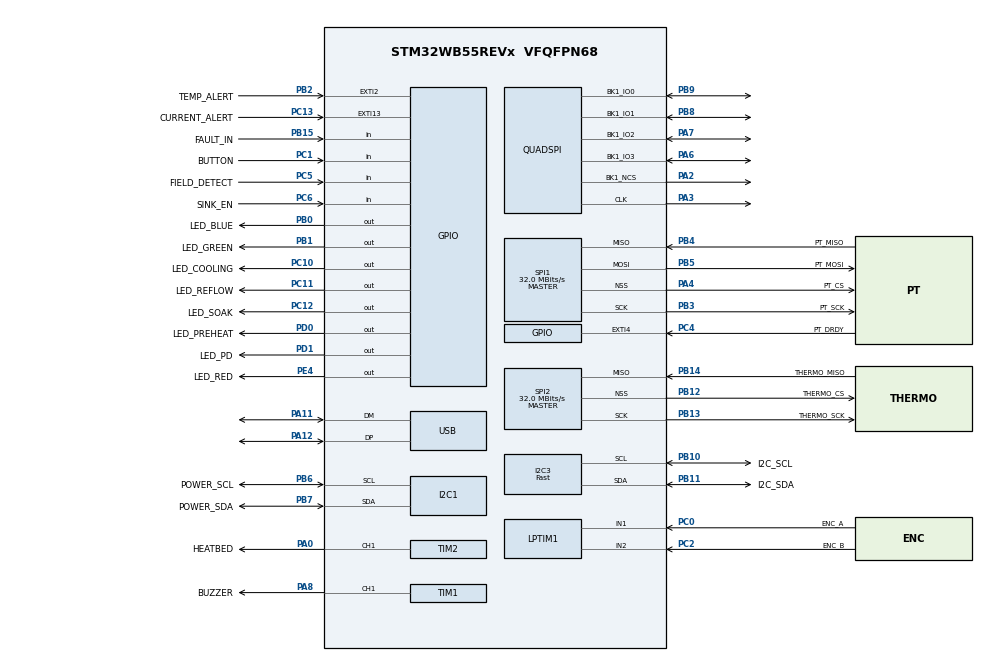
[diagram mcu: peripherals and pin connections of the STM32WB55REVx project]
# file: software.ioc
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Dma.I2C3_TX.0.Direction=DMA_MEMORY_TO_PERIPH
Dma.I2C3_TX.0.EventEnable=ENABLE
Dma.I2C3_TX.0.Instance=DMA1_Channel1
Dma.I2C3_TX.0.MemDataAlignment=DMA_MDATAALIGN_BYTE
Dma.I2C3_TX.0.MemInc=DMA_MINC_ENABLE
Dma.I2C3_TX.0.Mode=DMA_NORMAL
Dma.I2C3_TX.0.PeriphDataAlignment=DMA_PDATAALIGN_BYTE
Dma.I2C3_TX.0.PeriphInc=DMA_PINC_DISABLE
Dma.I2C3_TX.0.Polarity=HAL_DMAMUX_REQ_GEN_RISING
Dma.I2C3_TX.0.Priority=DMA_PRIORITY_HIGH
Dma.I2C3_TX.0.RequestNumber=1
Dma.I2C3_TX.0.SignalID=NONE
Dma.I2C3_TX.0.SyncEnable=DISABLE
Dma.I2C3_TX.0.SyncPolarity=HAL_DMAMUX_SYNC_NO_EVENT
Dma.I2C3_TX.0.SyncRequestNumber=1
Dma.I2C3_TX.0.SyncSignalID=NONE
Dma.Request0=I2C3_TX
I2C1.Timing=0x10B17DB5
I2C3.I2C_Speed_Mode=I2C_Fast
I2C3.Timing=0x00C12166
LPTIM1.ULPClockPolarity=LPTIM_CLOCKPOLARITY_RISING_FALLING
LPTIM1.ULPClockSampleTime=LPTIM_CLOCKSAMPLETIME_2TRANSITIONS
Mcu.Family=STM32WB
Mcu.Name=STM32WB55REVx
Mcu.Package=VFQFPN68
NVIC.DMA1_Channel1_IRQn=true\:0\:0\:false\:false\:true\:false\:true\:true
NVIC.DMAMUX1_OVR_IRQn=true\:0\:0\:false\:false\:true\:false\:true\:true
NVIC.EXTI15_10_IRQn=true\:0\:0\:false\:false\:true\:true\:true\:true
NVIC.HSEM_IRQn=true\:0\:0\:false\:false\:true\:false\:true\:true
NVIC.I2C3_EV_IRQn=true\:0\:0\:false\:false\:true\:true\:true\:true
NVIC.IPCC_C1_RX_IRQn=true\:0\:0\:false\:false\:true\:true\:true\:true
NVIC.IPCC_C1_TX_IRQn=true\:0\:0\:false\:false\:true\:true\:true\:true
NVIC.PriorityGroup=NVIC_PRIORITYGROUP_4
NVIC.RTC_WKUP_IRQn=true\:0\:0\:false\:false\:true\:true\:true\:true
NVIC.USB_LP_IRQn=true\:0\:0\:false\:false\:true\:false\:true\:true
OSC_IN.Mode=HSE-External-Oscillator
OSC_IN.Signal=RCC_OSC_IN
OSC_OUT.Mode=HSE-External-Oscillator
OSC_OUT.Signal=RCC_OSC_OUT
PA0.GPIO_Label=HEATBED
PA0.Signal=S_TIM2_CH1
PA11.Mode=Device
PA11.Signal=USB_DM
PA12.Mode=Device
PA12.Signal=USB_DP
PA13.Mode=Serial_Wire
PA13.Signal=SYS_JTMS-SWDIO
PA14.Mode=Serial_Wire
PA14.Signal=SYS_JTCK-SWCLK
PA2.Mode=Single Bank 1
PA2.Signal=QUADSPI_BK1_NCS
PA3.Mode=Single Bank 1
PA3.Signal=QUADSPI_CLK
PA4.GPIO_Label=PT_CS
PA4.Mode=NSS_Signal_Hard_Output
PA4.Signal=SPI1_NSS
PA6.Mode=Single Bank 1
PA6.Signal=QUADSPI_BK1_IO3
PA7.Mode=Single Bank 1
PA7.Signal=QUADSPI_BK1_IO2
PA8.GPIO_Label=BUZZER
PA8.Signal=S_TIM1_CH1
PB0.GPIO_Label=LED_BLUE
PB0.Signal=GPIO_Output
PB1.GPIO_Label=LED_GREEN
PB1.Signal=GPIO_Output
PB10.GPIO_Label=I2C_SCL
PB10.Mode=I2C
PB10.Signal=I2C3_SCL
PB11.GPIO_Label=I2C_SDA
PB11.Mode=I2C
PB11.Signal=I2C3_SDA
PB12.GPIO_Label=THERMO_CS
PB12.Mode=NSS_Signal_Hard_Output
PB12.Signal=SPI2_NSS
PB13.GPIO_Label=THERMO_SCK
PB13.Mode=RX_Only_Simplex_Unidirect_Master
PB13.Signal=SPI2_SCK
PB14.GPIO_Label=THERMO_MISO
PB14.Mode=RX_Only_Simplex_Unidirect_Master
PB14.Signal=SPI2_MISO
PB15.GPIO_Label=FAULT_IN
PB15.Signal=GPIO_Input
PB2.GPIO_Label=TEMP_ALERT
PB2.Signal=GPXTI2
PB3.GPIO_Label=PT_SCK
PB3.Mode=Full_Duplex_Master
PB3.Signal=SPI1_SCK
PB4.GPIO_Label=PT_MISO
PB4.Mode=Full_Duplex_Master
PB4.Signal=SPI1_MISO
PB5.GPIO_Label=PT_MOSI
PB5.Mode=Full_Duplex_Master
PB5.Signal=SPI1_MOSI
PB6.GPIO_Label=POWER_SCL
PB6.Mode=I2C
PB6.Signal=I2C1_SCL
PB7.GPIO_Label=POWER_SDA
PB7.Mode=I2C
PB7.Signal=I2C1_SDA
PB8.Mode=Single Bank 1
PB8.Signal=QUADSPI_BK1_IO1
PB9.Mode=Single Bank 1
PB9.Signal=QUADSPI_BK1_IO0
PC0.GPIO_Label=ENC_A
PC0.Mode=Encoder_mode_occur1
PC0.Signal=LPTIM1_IN1
PC1.GPIO_Label=BUTTON
PC1.GPIO_PuPd=GPIO_PULLUP
PC1.Signal=GPIO_Input
PC10.GPIO_Label=LED_COOLING
PC10.Signal=GPIO_Output
PC11.GPIO_Label=LED_REFLOW
PC11.Signal=GPIO_Output
PC12.GPIO_Label=LED_SOAK
PC12.Signal=GPIO_Output
PC13.GPIO_Label=CURRENT_ALERT
PC13.Signal=GPXTI13
PC14-OSC32_IN.Mode=LSE-External-Oscillator
PC14-OSC32_IN.Signal=RCC_OSC32_IN
PC15-OSC32_OUT.Mode=LSE-External-Oscillator
PC15-OSC32_OUT.Signal=RCC_OSC32_OUT
PC2.GPIO_Label=ENC_B
PC2.Mode=Encoder_mode_occur1
PC2.Signal=LPTIM1_IN2
PC4.GPIO_Label=PT_DRDY
PC4.Signal=GPXTI4
PC5.GPIO_Label=FIELD_DETECT
PC5.Signal=GPIO_Input
PC6.GPIO_Label=SINK_EN
PC6.Signal=GPIO_Input
PD0.GPIO_Label=LED_PREHEAT
PD0.Signal=GPIO_Output
PD1.GPIO_Label=LED_PD
PD1.Signal=GPIO_Output
PE4.GPIO_Label=LED_RED
PE4.Signal=GPIO_Output
ProjectManager.HeapSize=0xC00
ProjectManager.StackSize=0xA00
ProjectManager.TargetToolchain=Makefile
RCC.ADCFreq_Value=48000000
RCC.AHB2CLKDivider=RCC_SYSCLK_DIV2
RCC.AHBFreq_Value=64000000
RCC.APB1Freq_Value=64000000
RCC.APB1TimFreq_Value=64000000
RCC.APB2Freq_Value=64000000
RCC.APB2TimFreq_Value=64000000
RCC.APB3Freq_Value=16000000
RCC.CortexFreq_Value=64000000
RCC.HCLKFreq_Value=64000000
RCC.HSE_VALUE=32000000
RCC.HSI48_VALUE=48000000
RCC.HSI_VALUE=16000000
RCC.PLLN=32
RCC.PLLSAI1N=24
RCC.SYSCLKFreq_VALUE=64000000
RCC.SYSCLKSource=RCC_SYSCLKSOURCE_PLLCLK
RCC.USBFreq_Value=48000000
RCC.VCOOutputFreq_Value=128000000
RF1.Mode=RF1_Activate
RF1.Signal=RF_RF1
SH.S_TIM1_CH1.0=TIM1_CH1,PWM Generation1 CH1
SH.S_TIM2_CH1.0=TIM2_CH1,PWM Generation1 CH1
SPI1.CalculateBaudRate=32.0 MBits/s
SPI1.Direction=SPI_DIRECTION_2LINES
SPI1.Mode=SPI_MODE_MASTER
SPI1.VirtualNSS=VM_NSSHARD
SPI1.VirtualType=VM_MASTER
SPI2.CalculateBaudRate=32.0 MBits/s
SPI2.Direction=SPI_DIRECTION_2LINES_RXONLY
SPI2.Mode=SPI_MODE_MASTER
SPI2.VirtualNSS=VM_NSSHARD
SPI2.VirtualType=VM_MASTER
STM32_WPAN.AD_SERVICE_CLASS_UUID_1=18 0A
STM32_WPAN.AD_SERVICE_CLASS_UUID_1_INV=[0A, 18]
STM32_WPAN.AD_TYPE_COMPLETE_LOCAL_NAME=EMBER V1
STM32_WPAN.BLE_APPLICATION_TYPE=BLE_SERVER_PROFILE
STM32_WPAN.BT_SIG_BEACON=Disabled
STM32_WPAN.CFG_DEBUGGER_SUPPORTED=0
STM32_WPAN.CFG_GAP_DEVICE_NAME=EMBER V1
STM32_WPAN.CUSTOM_P2P_SERVER=Disabled
STM32_WPAN.CUSTOM_TEMPLATE=Enabled
STM32_WPAN.GAP_PERIPHERAL_ROLE=0
STM32_WPAN.INCLUDE_AD_TYPE_16_BIT_SERV_UUID_CMPLT_LIST=0
STM32_WPAN.INCLUDE_AD_TYPE_COMPLETE_LOCAL_NAME=1
STM32_WPAN.INCLUDE_AD_TYPE_MANUFACTURER_SPECIFIC_DATA=1
STM32_WPAN.INCLUDE_AD_TYPE_TX_POWER_LEVEL=1
STM32_WPAN.LOCAL_NAME=EMBER
STM32_WPAN.LOCAL_NAME_FORMATTED=,'E','M','B','E','R'
STM32_WPAN.NUMBER_OF_SERVICES=1
STM32_WPAN.PAIRING_PARAMETERS=ON
STM32_WPAN.SERVICE1_CHAR1_GATT_NOTIFY_READ_REQ_AND_WAIT_FOR_APPL_RESP=\ 
STM32_WPAN.SERVICE1_CHAR1_GATT_NOTIFY_WRITE_REQ_AND_WAIT_FOR_APPL_RESP=\ 
STM32_WPAN.SERVICE1_CHAR1_LENGTH_CHARACTERISTIC=CHAR_VALUE_LEN_CONSTANT
STM32_WPAN.SERVICE1_CHAR1_LONG_NAME=LED_STATUS
STM32_WPAN.SERVICE1_CHAR1_PROP_BROADCAST=CHAR_PROP_BROADCAST
STM32_WPAN.SERVICE1_CHAR1_PROP_READ=CHAR_PROP_READ
STM32_WPAN.SERVICE1_CHAR1_PROP_WRITE_WITHOUT_RESP=CHAR_PROP_WRITE_WITHOUT_RESP
STM32_WPAN.SERVICE1_CHAR1_SHORT_NAME=LED
STM32_WPAN.SERVICE1_CHAR1_UUID=00 01
STM32_WPAN.SERVICE1_CHAR1_VALUE_LENGTH=2
STM32_WPAN.SERVICE1_LONG_NAME=EMBER_STATUS
STM32_WPAN.SERVICE1_SHORT_NAME=STAT
STM32_WPAN.SERVICE1_UUID=00 00
TIM1.AutoReloadPreload=TIM_AUTORELOAD_PRELOAD_ENABLE
TIM1.Channel-PWM\ Generation1\ CH1=TIM_CHANNEL_1
TIM2.AutoReloadPreload=TIM_AUTORELOAD_PRELOAD_ENABLE
TIM2.Channel-PWM\ Generation1\ CH1=TIM_CHANNEL_1
TIM2.Period=999
TIM2.Prescaler=6399
USB_DEVICE.CLASS_NAME_FS=CDC
USB_DEVICE.VirtualMode=Cdc
USB_DEVICE.VirtualModeFS=Cdc_FS
VP_HSEM_VS_HSEM.Mode=HSEM_Activate
VP_IPCC_VS_IPCC.Mode=IPCC_Activate
VP_MEMORYMAP_VS_MEMORYMAP.Mode=CurAppReg
VP_RTC_VS_RTC_Activate.Mode=RTC_Enabled
VP_RTC_VS_RTC_WakeUp_intern.Mode=WakeUp
VP_SEQUENCER_VS_SEQUENCER.Mode=SEQUENCER_Enabled
VP_STM32_WPAN_VS_BLE_HOST.Mode=STM32_WPAN_Enabled
VP_TIM1_VS_ClockSourceINT.Mode=Internal
VP_TIM2_VS_ClockSourceINT.Mode=Internal
VP_TINY_LPM_VS_TINY_LPM.Mode=TINY_LPM_Enabled
VP_USB_DEVICE_VS_USB_DEVICE_CDC_FS.Mode=CDC_FS
board=custom

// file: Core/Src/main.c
/* USER CODE BEGIN Header */
/**
  ******************************************************************************
  * @file           : main.c
  * @brief          : Main program body
  ******************************************************************************
  * @attention
  *
  * Copyright (c) 2025 STMicroelectronics.
  * All rights reserved.
  *
  * This software is licensed under terms that can be found in the LICENSE file
  * in the root directory of this software component.
  * If no LICENSE file comes with this software, it is provided AS-IS.
  *
  ******************************************************************************
  */
/* USER CODE END Header */
#include "main.h"
#include "usb_device.h"

/* USER CODE BEGIN Includes */

#include "config.h"
#include "utils.h"
#include "tps25730_driver.h"
#include "speaker.h"
#include "input.h"
#include "heater.h"
#include "tmp116.h"
#include "nfc.h"
#include "driver_ina226_basic.h"

#include "rtd.h"

#include "thermocouple.h"

#include "swallow2.h"

#define SSD1306_BLENDER_PRO_BOLD_FONT_13x19

#include "ssd1306.h"
#include "ssd1306_tests.h"
#include <stdlib.h>
#include "ui.h"
#include "blenderProBold.h"
#include "fonts.h"
/* USER CODE END Includes */

I2C_HandleTypeDef hi2c1;
I2C_HandleTypeDef hi2c3;
DMA_HandleTypeDef hdma_i2c3_tx;

IPCC_HandleTypeDef hipcc;

LPTIM_HandleTypeDef hlptim1;

QSPI_HandleTypeDef hqspi;

RTC_HandleTypeDef hrtc;

SPI_HandleTypeDef hspi1;
SPI_HandleTypeDef hspi2;

TIM_HandleTypeDef htim1;
TIM_HandleTypeDef htim2;

/* USER CODE BEGIN PV */
TPS25730_Handle *tps_handle = NULL;
Speaker_Handle *speaker = NULL;
TMP116_Handle_t tmp116;
static uint32_t last_temp_read = 0;

static uint32_t last_tc_poll = 0;
static uint32_t last_nfc_poll = 0;
static uint32_t last_ina226_poll = 0;
// Encoder tone settings (configurable)
static uint32_t encoder_tone_base_freq = 2093; // C7
static int16_t encoder_tone_steps = 0; // steps from base, CCW +1 => +50Hz
static uint32_t encoder_tone_step_hz = 50; // Hz per step
static uint32_t encoder_tone_current_freq = 2093; // Start at base freq

/* Random teleport variables for SSD1306 */
static uint32_t last_teleport = 0;
static const uint32_t TELEPORT_INTERVAL_MS = 300; // teleport interval
static const uint8_t TELEPORT_RADIUS = 10; // circle radius

// Forward-declare menu callback
static void main_menu_select_cb(uint8_t idx, void *ctx);

// Settings screen state and helpers
static volatile bool settings_active = false;
static volatile int settings_heater_percent = 0;
static void settings_show(void);
static void settings_update_display(void);
static void settings_on_ok(void *ctx);

SSD1306_t SSD1306_Disp;
/* USER CODE END PV */

void SystemClock_Config(void);
void PeriphCommonClock_Config(void);
static void MX_GPIO_Init(void);
static void MX_DMA_Init(void);
static void MX_I2C1_Init(void);
static void MX_I2C3_Init(void);
static void MX_QUADSPI_Init(void);
static void MX_SPI2_Init(void);
static void MX_TIM1_Init(void);
static void MX_TIM2_Init(void);
static void MX_LPTIM1_Init(void);
static void MX_SPI1_Init(void);
static void MX_IPCC_Init(void);
static void MX_RTC_Init(void);
static void MX_RF_Init(void);
/* USER CODE BEGIN PFP */
/**
  * @brief Callback for main menu selections
  * @param idx: Index of the selected item
  * @param ctx: Context pointer (ui_menu_t *)
  * @retval None
  */
static void main_menu_select_cb(uint8_t idx, void *ctx) {
    ui_menu_t *m = (ui_menu_t *)ctx;
    switch (idx) {
        case 0: // Home
            ui_show_home(m);
            break;
        case 1: { // Status - show USB-C PD voltage & amperage + temperature
            static char status_buf[128];
            int len = 0;
            if (tps_handle != NULL) {
                uint32_t voltage_mv = 0, current_ma = 0;
                if (TPS25730_GetActiveVoltage(tps_handle, &voltage_mv, &current_ma)) {
                    uint32_t volts = voltage_mv / 1000;
                    uint32_t vfrac = (voltage_mv % 1000) / 10; // hundredths
                    uint32_t amps_int = current_ma / 1000;
                    uint32_t amps_frac = (current_ma % 1000) / 10; // hundredths
                    len = snprintf(status_buf, sizeof(status_buf), "%lu.%02lu V\n%lu.%02lu A (%lumA)", volts, vfrac, amps_int, amps_frac, current_ma);
                } else {
                    len = snprintf(status_buf, sizeof(status_buf), "USB-C PD: unavailable");
                }
            } else {
                len = snprintf(status_buf, sizeof(status_buf), "USB-C PD: not initialized");
            }
            if (len < 0) len = 0;
            if (len > (int)sizeof(status_buf) - 1) len = sizeof(status_buf) - 1;

            float temperature;
            if (TMP116_GetTemperature(&tmp116, &temperature) == TMP116_OK) {
                int rem = (int)sizeof(status_buf) - len;
                if (rem > 1) {
                    int n = snprintf(status_buf + len, rem, "\nTemp: %.2f C", temperature);
                    if (n > 0) len += n;
                }
            } else {
                int rem = (int)sizeof(status_buf) - len;
                if (rem > 1) {
                    int n = snprintf(status_buf + len, rem, "\nTemp: N/A");
                    if (n > 0) len += n;
                }
            }

            ui_show_text("Status", status_buf, &Font_11x18, &Font_6x8, NULL, NULL);
            break;
        }
        case 2: // Settings
            settings_show();
            break;
        case 3: // About
            ui_show_text("About", "Ember V1\n@NotARoomba", &Font_11x18, &Font_6x8, NULL, NULL);
            break;
        default:
            break;
    }
}
/* USER CODE END PFP */

/* USER CODE BEGIN 0 */

// Static buffer used by settings UI so the pointer remains valid
static char settings_buf[128];

// Show the settings screen and initialize value from current heater percent
static void settings_show(void) {
    settings_heater_percent = (int)(Heater_GetPercent() + 0.5f);
    snprintf(settings_buf, sizeof(settings_buf), "Heater: %d%%\nShort press to save\nLong press to return", settings_heater_percent);
    ui_show_text("Settings", settings_buf, &Font_11x18, &Font_6x8, settings_on_ok, NULL);
    settings_active = true;
}

// Update the displayed text - update current text screen in-place
static void settings_update_display(void) {
    snprintf(settings_buf, sizeof(settings_buf), "Heater: %d%%\nShort press to save\nLong press to return", settings_heater_percent);
    ui_update_text(settings_buf);
}

// Save callback (short press) - apply and close
static void settings_on_ok(void *ctx) {
    (void)ctx;
    print("Settings: Heater set to %d%%\r\n", settings_heater_percent);
    Heater_SetPercent((float)settings_heater_percent);
    settings_active = false;
    // Close the settings screen
    ui_handle_event(UI_EVT_BACK);
}

/* USER CODE END 0 */

int main(void)
{

  /* MCU Configuration--------------------------------------------------------*/

  /* Reset of all peripherals, Initializes the Flash interface and the Systick. */
  HAL_Init();
  /* Config code for STM32_WPAN (HSE Tuning must be done before system clock configuration) */
  MX_APPE_Config();

  /* Configure the system clock */
  SystemClock_Config();

  /* Configure the peripherals common clocks */
  PeriphCommonClock_Config();

  /* IPCC initialisation */
  MX_IPCC_Init();

  /* Initialize all configured peripherals */
  MX_GPIO_Init();
  MX_DMA_Init();
  MX_I2C1_Init();
  MX_I2C3_Init();
  MX_QUADSPI_Init();
  MX_SPI2_Init();
  MX_TIM1_Init();
  MX_TIM2_Init();
  MX_LPTIM1_Init();
  MX_SPI1_Init();
  MX_USB_Device_Init();
  MX_RTC_Init();
  MX_RF_Init();
  /* USER CODE BEGIN 2 */

  HAL_Delay(1000);

  /* Prevent unused-variable warnings until poll code is enabled */
  (void)last_temp_read;
  (void)last_ina226_poll;

  /* Scan I2C3 bus for devices */
  // int i2c3_devices = I2C_ScanBus(&hi2c3);
  // print("I2C3: %d device(s) found\r\n", i2c3_devices);

  /* Register LED pins with utils so Update_LEDs can control them */
  LEDs_RegisterPin(LED_STATUS_PD,       LED_PD_GPIO_Port,       LED_PD_Pin);
  LEDs_RegisterPin(LED_STATUS_PREHEAT,  LED_PREHEAT_GPIO_Port,  LED_PREHEAT_Pin);
  LEDs_RegisterPin(LED_STATUS_SOAK,     LED_SOAK_GPIO_Port,     LED_SOAK_Pin);
  LEDs_RegisterPin(LED_STATUS_REFLOW,   LED_REFLOW_GPIO_Port,   LED_REFLOW_Pin);
  LEDs_RegisterPin(LED_STATUS_COOL,     LED_COOLING_GPIO_Port,  LED_COOLING_Pin);
  LEDs_RegisterPin(LED_STATUS_STATUS,   LED_BLUE_GPIO_Port,    LED_BLUE_Pin);
  LEDs_RegisterPin(LED_STATUS_GOOD,     LED_GREEN_GPIO_Port,     LED_GREEN_Pin);
  LEDs_RegisterPin(LED_STATUS_ERROR,    LED_RED_GPIO_Port,      LED_RED_Pin);

  /* Set blink interval (ms) and start blinking all LEDs for visual test */
  LEDs_SetBlinkInterval(500);
  LEDs_Blinking();

  // Initialize input handling (encoder + button)
  if (!Input_Init()) {
    print("Input: Init FAILED\r\n");
    Error_Handler();
  }

  // Initialize heater PWM control
  Heater_Init();
  // Heater_Off();

  Heater_SetPercent(0);

  // Initialize TMP119 temperature sensor on I2C3
  if (TMP116_Init(&tmp116, &hi2c3, TMP116_I2C_ADDRESS) == TMP116_OK) {
    print("TMP119: OK\r\n");
  } else {
    print("TMP119: FAILED\r\n");
  }

  // Initialize NT3H2111 NFC tag on I2C3
  if (NFC_Init() == NFC_OK) {
    // NFC_DisablePasswordProtection();
    // Factory reset NFC tag after init using NFC wrapper
    // if (NFC_FactoryReset() == NFC_OK) {
    //   print("NFC: Factory reset complete\r\n");
    // } else {
    //   print("NFC: Factory reset FAILED\r\n");
    // }
    // // NFC_WriteText("Ember V1 NFC Tag");
    NFC_RefreshHash();  // Sync hash with current memory state
  }

  print("Ember V1!\r\n");

  // Initialize TPS25730 on I2C1 (assuming address 0x20)
  tps_handle = TPS25730_Init(&hi2c1, 0x20);
  if (tps_handle == NULL) {
    print("TPS25730: Init FAILED\r\n");
  }

  HAL_Delay(250);

  if (tps_handle != NULL) {
    uint32_t voltage_mv, current_ma;

    /*
    // === List all available PDOs from charger ===
    TPS25730_SourceCaps source_caps;
    if (TPS25730_ReadRxSourceCaps(tps_handle, &source_caps)) {
      print("=== Source PDOs ===\r\n");
      for (uint8_t i = 0; i < source_caps.num_valid_pdos; i++) {
        uint32_t pdo = source_caps.pdos[i];
        TPS25730_FixedPDO fixed;
        if (TPS25730_ParseFixedPDO(pdo, &fixed)) {
          print("PDO %u: %lu.%02luV @ %lu.%02luA\r\n", i+1,
                fixed.voltage_mv/1000, (fixed.voltage_mv%1000)/10,
                fixed.operational_current_ma/1000, (fixed.operational_current_ma%1000)/10);
        }
      }
    }
    */

    // Get current voltage
    if (TPS25730_GetActiveVoltage(tps_handle, &voltage_mv, &current_ma)) {
      print("Current: %lu.%02luV @ %lu.%02luA\r\n",
            voltage_mv/1000, (voltage_mv%1000)/10,
            current_ma/1000, (current_ma%1000)/10);
    }

    // Request 20V @ 5A
    print("Requesting 20V @ 5A...\r\n");
    if (TPS25730_RequestVoltage(tps_handle, 20000, 5000, 5000)) {
      HAL_Delay(250);

      // Get updated voltage
      if (TPS25730_GetActiveVoltage(tps_handle, &voltage_mv, &current_ma)) {
        print("Updated: %lu.%02luV @ %lu.%02luA\r\n",
              voltage_mv/1000, (voltage_mv%1000)/10,
              current_ma/1000, (current_ma%1000)/10);
      }
    } else {
      print("Request failed\r\n");
    }
  }

  // Initialize speaker and play jingle bells
  speaker = Speaker_Init(&htim1, TIM_CHANNEL_1, 64000000);

  // Jingle Bells melody
  // const Speaker_Note jingle_bells[] = {
  //   // "Jingle bells, jingle bells"
  //   {NOTE_E5, 200}, {NOTE_E5, 200}, {NOTE_E5, 400},
  //   {NOTE_E5, 200}, {NOTE_E5, 200}, {NOTE_E5, 400},
  //   // "Jingle all the way"
  //   {NOTE_E5, 200}, {NOTE_G5, 200}, {NOTE_C5, 200}, {NOTE_D5, 200}, {NOTE_E5, 600},
  //   {NOTE_REST, 200},
  //   // "Oh what fun it is to ride"
  //   {NOTE_F5, 200}, {NOTE_F5, 200}, {NOTE_F5, 200}, {NOTE_F5, 200},
  //   {NOTE_F5, 200}, {NOTE_E5, 200}, {NOTE_E5, 200}, {NOTE_E5, 100}, {NOTE_E5, 100},
  //   // "In a one horse open sleigh"
  //   {NOTE_E5, 200}, {NOTE_D5, 200}, {NOTE_D5, 200}, {NOTE_E5, 200}, {NOTE_D5, 400}, {NOTE_G5, 400},
  // };

  // Speaker_PlayMelody(speaker, jingle_bells, sizeof(jingle_bells)/sizeof(jingle_bells[0]));

  // // Wait for melody to finish
  // while (Speaker_Update(speaker)) {
  //   // Melody still playing
  // }

  // Initialize INA226 on I2C1 (bus voltage/current monitor)
  // 3W 2mΩ SMD ±50ppm/℃ Current Sense Resistor ±1% 2512
  // if (ina226_basic_init(INA226_ADDRESS_0, 0.002) == 0) {
  //   print("INA226: OK\r\n");
  // } else {
  //   print("INA226: FAILED\r\n");
  // }

  // Initialize RTD (MAX31865) on SPI1
  RTD_Init();
  print("RTD: MAX31865 initialized\r\n");

  // Initialize Thermocouple (MAX6675) on SPI2
  Thermocouple_Init();
  print("Thermocouple: MAX6675 initialized\r\n");

    LEDs_Off();
    Set_LED_Status(LED_STATUS_GOOD, ON);
    Set_LED_Status(LED_STATUS_PD, BLINKING);
    // u8g2_Setup_ssd1306_i2c_128x64_noname_1();
    ssd1306_Init();

    // Initialize UI
    ui_init();
    static const char *main_menu_items[] = {"Home", "Status", "Settings", "About"};
    static ui_menu_t main_menu; // initialize at runtime to allow Font_7x10 assignment
    main_menu.items = main_menu_items;
    main_menu.count = sizeof(main_menu_items)/sizeof(main_menu_items[0]);
    main_menu.selected = 0;
    main_menu.top = 0;
    main_menu.lines = 4;
    main_menu.left_padding = 2;
    main_menu.right_padding = 2;
    // select the preferred font: try Minecraft 8x10 first, then configured default
    main_menu.font = &fontBlenderProBold18pt13x19;
    // main_menu.title = "Main Menu";
    main_menu.on_select = main_menu_select_cb;
    main_menu.cb_ctx = &main_menu;
    // Show the branded home screen and allow the user to press OK to enter the main menu
    ui_show_home(&main_menu);

    // ssd1306_TestAll();

    // HAL_Delay(500);
    // ssd1306_FillCircle(64, 32, 10, White);
    // ssd1306_UpdateScreen();
    // HAL_Delay(500);
    // ssd1306_FillCircle(64, 32, 10, White);
    // ssd1306_UpdateScreen();
    // ssd1306_FillCircle(64, 32, 10, White);
    // ssd1306_UpdateScreen();
  /* USER CODE END 2 */

  /* Init code for STM32_WPAN */
  MX_APPE_Init();

  /* Infinite loop */
  /* USER CODE BEGIN WHILE */
  while (1)
  {
    // Poll inputs (non-blocking)
    Input_Poll();
    Update_LEDs();
    Speaker_Update(speaker);

    // Poll Thermocouple (MAX6675) for temperature every 500ms
    if ((HAL_GetTick() - last_tc_poll) >= 500) {
      last_tc_poll = HAL_GetTick();
       float tc_temp = Thermocouple_ReadCelsius();
      if (Thermocouple_Ok()) {
        print("Thermocouple: %.2f C\r\n", tc_temp);
      } else {
        print("Thermocouple: read failed\r\n");
      }
    }

    // let UI process events and redraw when ready
    ui_tick();

    // Random teleport – only attempt when no UI screen is active
    if (!ui_is_active() && (int32_t)(HAL_GetTick() - last_teleport) >= (int32_t)TELEPORT_INTERVAL_MS) {
        if (SSD1306_Disp.state == SSD1306_STATE_READY) {
            last_teleport = HAL_GetTick();
            ssd1306_Fill(Black); // clear buffer
            uint8_t x = (uint8_t)(rand() % (SSD1306_WIDTH - 2*TELEPORT_RADIUS)) + TELEPORT_RADIUS;
            uint8_t y = (uint8_t)(rand() % (SSD1306_HEIGHT - 2*TELEPORT_RADIUS)) + TELEPORT_RADIUS;
            ssd1306_FillCircle(x, y, TELEPORT_RADIUS, White);
            ssd1306_UpdateScreen();
        }
    }

    // Handle encoder events
    if (input_encoder_cw) {
      input_encoder_cw = false;

      if (settings_active) {
          // Counter-clockwise -> increase percentage
          if (settings_heater_percent < 100) settings_heater_percent++;
          settings_update_display();
          print("Settings: Heater %d%%\r\n", settings_heater_percent);
          // if (speaker != NULL) { Speaker_Beep(speaker, 1000, 30, 10, 1); }
      } else {
          // Notify UI (rotary clockwise -> DOWN)
          ui_handle_event(UI_EVT_DOWN);

          print("Encoder CW, position: %ld\r\n", input_encoder_position);
          // Decrease pitch by 50 Hz per clockwise step
          // encoder_tone_steps--;
          // int32_t freq = (int32_t)encoder_tone_base_freq + (int32_t)encoder_tone_steps * (int32_t)encoder_tone_step_hz;
          // if (freq < 20) freq = 20;
          // if (freq > 20000) freq = 20000;
          // encoder_tone_current_freq = (uint32_t)freq;
          // if (speaker != NULL) {
          //   Speaker_Beep(speaker, (uint16_t)freq, 30, 10, 1);
          // }
      }
    }
    if (input_encoder_ccw) {
      input_encoder_ccw = false;

      if (settings_active) {
          // Clockwise -> decrease percentage
          if (settings_heater_percent > 0) settings_heater_percent--;
          settings_update_display();
          print("Settings: Heater %d%%\r\n", settings_heater_percent);
          // if (speaker != NULL) { Speaker_Beep(speaker, 1200, 30, 10, 1); }
      } else {
          // Notify UI (rotary counter-clockwise -> UP)
          ui_handle_event(UI_EVT_UP);

          print("Encoder CCW, position: %ld\r\n", input_encoder_position);
          // Increase pitch by 50 Hz per counter-clockwise step
          // encoder_tone_steps++;
          // int32_t freq = (int32_t)encoder_tone_base_freq + (int32_t)encoder_tone_steps * (int32_t)encoder_tone_step_hz;
          // if (freq < 20) freq = 20;
          // if (freq > 20000) freq = 20000;
          // encoder_tone_current_freq = (uint32_t)freq;
          // if (speaker != NULL) {
          //   Speaker_Beep(speaker, (uint16_t)freq, 30, 10, 1);
          // }
      }
    }

    // Handle button events
    if (input_button_pressed) {
      input_button_pressed = false;
      // Notify UI (button press -> OK/select)
      ui_handle_event(UI_EVT_OK);

      print("Button short press! Position: %ld\r\n", input_encoder_position);
      // if (speaker != NULL) {
      //   // Play current beep and print frequency
      //   // Speaker_Beep(speaker, (uint16_t)encoder_tone_current_freq, 40, 10, 1);
      //   // print("Speaker current beep: %lu Hz\r\n", encoder_tone_current_freq);
      //     Speaker_PlayMelody(speaker, swallow, sizeof(swallow)/sizeof(swallow[0]));
      //   while(Speaker_Update(speaker)) {

      //   }
      }
      // TODO: Handle short press (e.g., select/confirm)

    if (input_button_long_pressed) {
      input_button_long_pressed = false;
      if (settings_active) {
          settings_active = false;
          ui_handle_event(UI_EVT_BACK);
          print("Settings: canceled\r\n");
      } else {
        ui_handle_event(UI_EVT_BACK);
          print("Button long press!\r\n");
          // TODO: Additional global long-press behavior
      }
    }
    // Poll temperature sensor periodically
    // if ((HAL_GetTick() - last_temp_read) >= TEMP_READ_INTERVAL_MS) {
    //   last_temp_read = HAL_GetTick();
    //   float temperature;
    //   if (TMP116_GetTemperature(&tmp116, &temperature) == TMP116_OK) {
    //     print("Temp: %d.%02d C\r\n", (int)temperature, (int)((temperature - (int)temperature) * 100));
    //   }
    // }

    // Poll NFC for field detection and data changes
    if ((HAL_GetTick() - last_nfc_poll) >= NFC_POLL_INTERVAL_MS) {
      last_nfc_poll = HAL_GetTick();
      NFC_Events_t nfc_events;
      if (NFC_Poll(&nfc_events) == NFC_OK) {
        Set_LED_Status(LED_STATUS_STATUS, nfc_events.field_detected ? ON : OFF);
        //play a jingle  c4 and then f4 in sequence

        if (nfc_events.data_changed) {
                        Speaker_PlayMelody(speaker, (Speaker_Note[]){ {NOTE_F4, 75}, {NOTE_C4, 50} }, 2);

          // Read first 16 bytes of user memory to see what changed
          uint8_t nfc_data[16];
          char nfc_text[128];
          if (NFC_ReadMemory(0, nfc_data, sizeof(nfc_data)) == NFC_OK) {
            for (size_t i = 0; i < sizeof(nfc_data); i++) {
              print("%02x ", nfc_data[i]);
            }
            print("\r\n");
          }
        if (NFC_ReadText(nfc_text, sizeof(nfc_text)) == NFC_OK) {
          print("NFC Text: %s\r\n", nfc_text);
        }
        } else if  (nfc_events.field_detected) {
              // Field detected - play C4
              Speaker_PlayMelody(speaker, (Speaker_Note[]){ {NOTE_C4, 75}, {NOTE_F4, 50} }, 2);
            }

      }
    }
    // Poll INA226 for current/voltage every 500ms
    // if ((HAL_GetTick() - last_ina226_poll) >= 500) {
    //   last_ina226_poll = HAL_GetTick();
    //   float bus_mv = 0, current_ma = 0, power_mw = 0;
    //   if (ina226_basic_read(&bus_mv, &current_ma, &power_mw) == 0) {
    //     print("INA226: %.2f mV, %.2f mA, %.2f mW\r\n", bus_mv, current_ma, power_mw);
    //   } else {
    //     print("INA226: read failed\r\n");
    //   }
    // }

    // Poll RTD (MAX31865) for temperature every 500ms
    // static uint32_t last_rtd_poll = 0;
    // if ((HAL_GetTick() - last_rtd_poll) >= 500) {
    //   last_rtd_poll = HAL_GetTick();
    //   float rtd_temp = RTD_ReadCelsius();
    //   float rtd_ohms = RTD_ReadOhms();
    //   if (!RTD_Fault()) {
    //     print("RTD: %.2f C, %.2f Ohms\r\n", rtd_temp, rtd_ohms);
    //   } else {
    //     print("RTD: FAULT (code 0x%02X)\r\n", RTD_FaultCode());
    //     RTD_ClearFault();
    //   }
    // }

    // Other main loop tasks here...

    /* USER CODE END WHILE */
    MX_APPE_Process();

  }
}

void SystemClock_Config(void)
{
  RCC_OscInitTypeDef RCC_OscInitStruct = {0};
  RCC_ClkInitTypeDef RCC_ClkInitStruct = {0};

  /** Configure LSE Drive Capability
  */
  HAL_PWR_EnableBkUpAccess();
  __HAL_RCC_LSEDRIVE_CONFIG(RCC_LSEDRIVE_MEDIUMHIGH);

  /** Configure the main internal regulator output voltage
  */
  __HAL_PWR_VOLTAGESCALING_CONFIG(PWR_REGULATOR_VOLTAGE_SCALE1);

  /** Initializes the RCC Oscillators according to the specified parameters
  * in the RCC_OscInitTypeDef structure.
  */
  RCC_OscInitStruct.OscillatorType = RCC_OSCILLATORTYPE_HSI|RCC_OSCILLATORTYPE_LSI1
                              |RCC_OSCILLATORTYPE_HSE|RCC_OSCILLATORTYPE_LSE
                              |RCC_OSCILLATORTYPE_MSI;
  RCC_OscInitStruct.HSEState = RCC_HSE_ON;
  RCC_OscInitStruct.LSEState = RCC_LSE_ON;
  RCC_OscInitStruct.HSIState = RCC_HSI_ON;
  RCC_OscInitStruct.MSIState = RCC_MSI_ON;
  RCC_OscInitStruct.HSICalibrationValue = RCC_HSICALIBRATION_DEFAULT;
  RCC_OscInitStruct.MSICalibrationValue = RCC_MSICALIBRATION_DEFAULT;
  RCC_OscInitStruct.MSIClockRange = RCC_MSIRANGE_6;
  RCC_OscInitStruct.LSIState = RCC_LSI_ON;
  RCC_OscInitStruct.PLL.PLLState = RCC_PLL_ON;
  RCC_OscInitStruct.PLL.PLLSource = RCC_PLLSOURCE_MSI;
  RCC_OscInitStruct.PLL.PLLM = RCC_PLLM_DIV1;
  RCC_OscInitStruct.PLL.PLLN = 32;
  RCC_OscInitStruct.PLL.PLLP = RCC_PLLP_DIV2;
  RCC_OscInitStruct.PLL.PLLR = RCC_PLLR_DIV2;
  RCC_OscInitStruct.PLL.PLLQ = RCC_PLLQ_DIV2;
  if (HAL_RCC_OscConfig(&RCC_OscInitStruct) != HAL_OK)
  {
    Error_Handler();
  }

  /** Configure the SYSCLKSource, HCLK, PCLK1 and PCLK2 clocks dividers
  */
  RCC_ClkInitStruct.ClockType = RCC_CLOCKTYPE_HCLK4|RCC_CLOCKTYPE_HCLK2
                              |RCC_CLOCKTYPE_HCLK|RCC_CLOCKTYPE_SYSCLK
                              |RCC_CLOCKTYPE_PCLK1|RCC_CLOCKTYPE_PCLK2;
  RCC_ClkInitStruct.SYSCLKSource = RCC_SYSCLKSOURCE_PLLCLK;
  RCC_ClkInitStruct.AHBCLKDivider = RCC_SYSCLK_DIV1;
  RCC_ClkInitStruct.APB1CLKDivider = RCC_HCLK_DIV1;
  RCC_ClkInitStruct.APB2CLKDivider = RCC_HCLK_DIV1;
  RCC_ClkInitStruct.AHBCLK2Divider = RCC_SYSCLK_DIV2;
  RCC_ClkInitStruct.AHBCLK4Divider = RCC_SYSCLK_DIV1;

  if (HAL_RCC_ClockConfig(&RCC_ClkInitStruct, FLASH_LATENCY_3) != HAL_OK)
  {
    Error_Handler();
  }

  /** Enable MSI Auto calibration
  */
  HAL_RCCEx_EnableMSIPLLMode();
}

void PeriphCommonClock_Config(void)
{
  RCC_PeriphCLKInitTypeDef PeriphClkInitStruct = {0};

  /** Initializes the peripherals clock
  */
  PeriphClkInitStruct.PeriphClockSelection = RCC_PERIPHCLK_SMPS|RCC_PERIPHCLK_RFWAKEUP;
  PeriphClkInitStruct.RFWakeUpClockSelection = RCC_RFWKPCLKSOURCE_HSE_DIV1024;
  PeriphClkInitStruct.SmpsClockSelection = RCC_SMPSCLKSOURCE_HSI;
  PeriphClkInitStruct.SmpsDivSelection = RCC_SMPSCLKDIV_RANGE1;

  if (HAL_RCCEx_PeriphCLKConfig(&PeriphClkInitStruct) != HAL_OK)
  {
    Error_Handler();
  }
}

static void MX_I2C1_Init(void)
{

  hi2c1.Instance = I2C1;
  hi2c1.Init.Timing = 0x10B17DB5;
  hi2c1.Init.OwnAddress1 = 0;
  hi2c1.Init.AddressingMode = I2C_ADDRESSINGMODE_7BIT;
  hi2c1.Init.DualAddressMode = I2C_DUALADDRESS_DISABLE;
  hi2c1.Init.OwnAddress2 = 0;
  hi2c1.Init.OwnAddress2Masks = I2C_OA2_NOMASK;
  hi2c1.Init.GeneralCallMode = I2C_GENERALCALL_DISABLE;
  hi2c1.Init.NoStretchMode = I2C_NOSTRETCH_DISABLE;
  if (HAL_I2C_Init(&hi2c1) != HAL_OK)
  {
    Error_Handler();
  }

  /** Configure Analogue filter
  */
  if (HAL_I2CEx_ConfigAnalogFilter(&hi2c1, I2C_ANALOGFILTER_ENABLE) != HAL_OK)
  {
    Error_Handler();
  }

  /** Configure Digital filter
  */
  if (HAL_I2CEx_ConfigDigitalFilter(&hi2c1, 0) != HAL_OK)
  {
    Error_Handler();
  }

}

static void MX_I2C3_Init(void)
{

  /* USER CODE BEGIN I2C3_Init 1 */
  hi2c3.hdmatx = &hdma_i2c3_tx;
  /* USER CODE END I2C3_Init 1 */
  hi2c3.Instance = I2C3;
  hi2c3.Init.Timing = 0x00C12166;
  hi2c3.Init.OwnAddress1 = 0;
  hi2c3.Init.AddressingMode = I2C_ADDRESSINGMODE_7BIT;
  hi2c3.Init.DualAddressMode = I2C_DUALADDRESS_DISABLE;
  hi2c3.Init.OwnAddress2 = 0;
  hi2c3.Init.OwnAddress2Masks = I2C_OA2_NOMASK;
  hi2c3.Init.GeneralCallMode = I2C_GENERALCALL_DISABLE;
  hi2c3.Init.NoStretchMode = I2C_NOSTRETCH_DISABLE;
  if (HAL_I2C_Init(&hi2c3) != HAL_OK)
  {
    Error_Handler();
  }

  /** Configure Analogue filter
  */
  if (HAL_I2CEx_ConfigAnalogFilter(&hi2c3, I2C_ANALOGFILTER_ENABLE) != HAL_OK)
  {
    Error_Handler();
  }

  /** Configure Digital filter
  */
  if (HAL_I2CEx_ConfigDigitalFilter(&hi2c3, 0) != HAL_OK)
  {
    Error_Handler();
  }

}

static void MX_IPCC_Init(void)
{

  hipcc.Instance = IPCC;
  if (HAL_IPCC_Init(&hipcc) != HAL_OK)
  {
    Error_Handler();
  }

}

static void MX_LPTIM1_Init(void)
{

  hlptim1.Instance = LPTIM1;
  hlptim1.Init.Clock.Source = LPTIM_CLOCKSOURCE_APBCLOCK_LPOSC;
  hlptim1.Init.Clock.Prescaler = LPTIM_PRESCALER_DIV1;
  hlptim1.Init.UltraLowPowerClock.Polarity = LPTIM_CLOCKPOLARITY_RISING_FALLING;
  hlptim1.Init.UltraLowPowerClock.SampleTime = LPTIM_CLOCKSAMPLETIME_2TRANSITIONS;
  hlptim1.Init.Trigger.Source = LPTIM_TRIGSOURCE_SOFTWARE;
  hlptim1.Init.OutputPolarity = LPTIM_OUTPUTPOLARITY_HIGH;
  hlptim1.Init.UpdateMode = LPTIM_UPDATE_IMMEDIATE;
  hlptim1.Init.CounterSource = LPTIM_COUNTERSOURCE_EXTERNAL;
  hlptim1.Init.Input1Source = LPTIM_INPUT1SOURCE_GPIO;
  hlptim1.Init.Input2Source = LPTIM_INPUT2SOURCE_GPIO;
  if (HAL_LPTIM_Init(&hlptim1) != HAL_OK)
  {
    Error_Handler();
  }

}

static void MX_QUADSPI_Init(void)
{

  /* QUADSPI parameter configuration*/
  hqspi.Instance = QUADSPI;
  hqspi.Init.ClockPrescaler = 255;
  hqspi.Init.FifoThreshold = 1;
  hqspi.Init.SampleShifting = QSPI_SAMPLE_SHIFTING_NONE;
  hqspi.Init.FlashSize = 1;
  hqspi.Init.ChipSelectHighTime = QSPI_CS_HIGH_TIME_1_CYCLE;
  hqspi.Init.ClockMode = QSPI_CLOCK_MODE_0;
  if (HAL_QSPI_Init(&hqspi) != HAL_OK)
  {
    Error_Handler();
  }

}

static void MX_RF_Init(void)
{

}

static void MX_RTC_Init(void)
{

  /** Initialize RTC Only
  */
  hrtc.Instance = RTC;
  hrtc.Init.HourFormat = RTC_HOURFORMAT_24;
  hrtc.Init.AsynchPrediv = CFG_RTC_ASYNCH_PRESCALER;
  hrtc.Init.SynchPrediv = CFG_RTC_SYNCH_PRESCALER;
  hrtc.Init.OutPut = RTC_OUTPUT_DISABLE;
  hrtc.Init.OutPutPolarity = RTC_OUTPUT_POLARITY_HIGH;
  hrtc.Init.OutPutType = RTC_OUTPUT_TYPE_OPENDRAIN;
  hrtc.Init.OutPutRemap = RTC_OUTPUT_REMAP_NONE;
  if (HAL_RTC_Init(&hrtc) != HAL_OK)
  {
    Error_Handler();
  }

  /** Enable the WakeUp
  */
  if (HAL_RTCEx_SetWakeUpTimer_IT(&hrtc, 0, RTC_WAKEUPCLOCK_RTCCLK_DIV16) != HAL_OK)
  {
    Error_Handler();
  }

}

static void MX_SPI1_Init(void)
{

  /* SPI1 parameter configuration*/
  hspi1.Instance = SPI1;
  hspi1.Init.Mode = SPI_MODE_MASTER;
  hspi1.Init.Direction = SPI_DIRECTION_2LINES;
  hspi1.Init.DataSize = SPI_DATASIZE_4BIT;
  hspi1.Init.CLKPolarity = SPI_POLARITY_LOW;
  hspi1.Init.CLKPhase = SPI_PHASE_1EDGE;
  hspi1.Init.NSS = SPI_NSS_HARD_OUTPUT;
  hspi1.Init.BaudRatePrescaler = SPI_BAUDRATEPRESCALER_2;
  hspi1.Init.FirstBit = SPI_FIRSTBIT_MSB;
  hspi1.Init.TIMode = SPI_TIMODE_DISABLE;
  hspi1.Init.CRCCalculation = SPI_CRCCALCULATION_DISABLE;
  hspi1.Init.CRCPolynomial = 7;
  hspi1.Init.CRCLength = SPI_CRC_LENGTH_DATASIZE;
  hspi1.Init.NSSPMode = SPI_NSS_PULSE_ENABLE;
  if (HAL_SPI_Init(&hspi1) != HAL_OK)
  {
    Error_Handler();
  }

}

static void MX_SPI2_Init(void)
{

  /* SPI2 parameter configuration*/
  hspi2.Instance = SPI2;
  hspi2.Init.Mode = SPI_MODE_MASTER;
  hspi2.Init.Direction = SPI_DIRECTION_2LINES_RXONLY;
  hspi2.Init.DataSize = SPI_DATASIZE_4BIT;
  hspi2.Init.CLKPolarity = SPI_POLARITY_LOW;
  hspi2.Init.CLKPhase = SPI_PHASE_1EDGE;
  hspi2.Init.NSS = SPI_NSS_HARD_OUTPUT;
  hspi2.Init.BaudRatePrescaler = SPI_BAUDRATEPRESCALER_2;
  hspi2.Init.FirstBit = SPI_FIRSTBIT_MSB;
  hspi2.Init.TIMode = SPI_TIMODE_DISABLE;
  hspi2.Init.CRCCalculation = SPI_CRCCALCULATION_DISABLE;
  hspi2.Init.CRCPolynomial = 7;
  hspi2.Init.CRCLength = SPI_CRC_LENGTH_DATASIZE;
  hspi2.Init.NSSPMode = SPI_NSS_PULSE_ENABLE;
  if (HAL_SPI_Init(&hspi2) != HAL_OK)
  {
    Error_Handler();
  }

}

static void MX_TIM1_Init(void)
{

  TIM_ClockConfigTypeDef sClockSourceConfig = {0};
  TIM_MasterConfigTypeDef sMasterConfig = {0};
  TIM_OC_InitTypeDef sConfigOC = {0};
  TIM_BreakDeadTimeConfigTypeDef sBreakDeadTimeConfig = {0};

  htim1.Instance = TIM1;
  htim1.Init.Prescaler = 0;
  htim1.Init.CounterMode = TIM_COUNTERMODE_UP;
  htim1.Init.Period = 65535;
  htim1.Init.ClockDivision = TIM_CLOCKDIVISION_DIV1;
  htim1.Init.RepetitionCounter = 0;
  htim1.Init.AutoReloadPreload = TIM_AUTORELOAD_PRELOAD_ENABLE;
  if (HAL_TIM_Base_Init(&htim1) != HAL_OK)
  {
    Error_Handler();
  }
  sClockSourceConfig.ClockSource = TIM_CLOCKSOURCE_INTERNAL;
  if (HAL_TIM_ConfigClockSource(&htim1, &sClockSourceConfig) != HAL_OK)
  {
    Error_Handler();
  }
  if (HAL_TIM_PWM_Init(&htim1) != HAL_OK)
  {
    Error_Handler();
  }
  sMasterConfig.MasterOutputTrigger = TIM_TRGO_RESET;
  sMasterConfig.MasterOutputTrigger2 = TIM_TRGO2_RESET;
  sMasterConfig.MasterSlaveMode = TIM_MASTERSLAVEMODE_DISABLE;
  if (HAL_TIMEx_MasterConfigSynchronization(&htim1, &sMasterConfig) != HAL_OK)
  {
    Error_Handler();
  }
  sConfigOC.OCMode = TIM_OCMODE_PWM1;
  sConfigOC.Pulse = 0;
  sConfigOC.OCPolarity = TIM_OCPOLARITY_HIGH;
  sConfigOC.OCNPolarity = TIM_OCNPOLARITY_HIGH;
  sConfigOC.OCFastMode = TIM_OCFAST_DISABLE;
  sConfigOC.OCIdleState = TIM_OCIDLESTATE_RESET;
  sConfigOC.OCNIdleState = TIM_OCNIDLESTATE_RESET;
  if (HAL_TIM_PWM_ConfigChannel(&htim1, &sConfigOC, TIM_CHANNEL_1) != HAL_OK)
  {
    Error_Handler();
  }
  sBreakDeadTimeConfig.OffStateRunMode = TIM_OSSR_DISABLE;
  sBreakDeadTimeConfig.OffStateIDLEMode = TIM_OSSI_DISABLE;
  sBreakDeadTimeConfig.LockLevel = TIM_LOCKLEVEL_OFF;
  sBreakDeadTimeConfig.DeadTime = 0;
  sBreakDeadTimeConfig.BreakState = TIM_BREAK_DISABLE;
  sBreakDeadTimeConfig.BreakPolarity = TIM_BREAKPOLARITY_HIGH;
  sBreakDeadTimeConfig.BreakFilter = 0;
  sBreakDeadTimeConfig.BreakAFMode = TIM_BREAK_AFMODE_INPUT;
  sBreakDeadTimeConfig.Break2State = TIM_BREAK2_DISABLE;
  sBreakDeadTimeConfig.Break2Polarity = TIM_BREAK2POLARITY_HIGH;
  sBreakDeadTimeConfig.Break2Filter = 0;
  sBreakDeadTimeConfig.Break2AFMode = TIM_BREAK_AFMODE_INPUT;
  sBreakDeadTimeConfig.AutomaticOutput = TIM_AUTOMATICOUTPUT_DISABLE;
  if (HAL_TIMEx_ConfigBreakDeadTime(&htim1, &sBreakDeadTimeConfig) != HAL_OK)
  {
    Error_Handler();
  }
  HAL_TIM_MspPostInit(&htim1);

}

static void MX_TIM2_Init(void)
{

  TIM_ClockConfigTypeDef sClockSourceConfig = {0};
  TIM_MasterConfigTypeDef sMasterConfig = {0};
  TIM_OC_InitTypeDef sConfigOC = {0};

  htim2.Instance = TIM2;
  htim2.Init.Prescaler = 6399;
  htim2.Init.CounterMode = TIM_COUNTERMODE_UP;
  htim2.Init.Period = 999;
  htim2.Init.ClockDivision = TIM_CLOCKDIVISION_DIV1;
  htim2.Init.AutoReloadPreload = TIM_AUTORELOAD_PRELOAD_ENABLE;
  if (HAL_TIM_Base_Init(&htim2) != HAL_OK)
  {
    Error_Handler();
  }
  sClockSourceConfig.ClockSource = TIM_CLOCKSOURCE_INTERNAL;
  if (HAL_TIM_ConfigClockSource(&htim2, &sClockSourceConfig) != HAL_OK)
  {
    Error_Handler();
  }
  if (HAL_TIM_PWM_Init(&htim2) != HAL_OK)
  {
    Error_Handler();
  }
  sMasterConfig.MasterOutputTrigger = TIM_TRGO_RESET;
  sMasterConfig.MasterSlaveMode = TIM_MASTERSLAVEMODE_DISABLE;
  if (HAL_TIMEx_MasterConfigSynchronization(&htim2, &sMasterConfig) != HAL_OK)
  {
    Error_Handler();
  }
  sConfigOC.OCMode = TIM_OCMODE_PWM1;
  sConfigOC.Pulse = 0;
  sConfigOC.OCPolarity = TIM_OCPOLARITY_HIGH;
  sConfigOC.OCFastMode = TIM_OCFAST_DISABLE;
  if (HAL_TIM_PWM_ConfigChannel(&htim2, &sConfigOC, TIM_CHANNEL_1) != HAL_OK)
  {
    Error_Handler();
  }
  /* USER CODE BEGIN TIM2_Init 2 */
  // Reconfigure TIM2 for heater PWM using config.h values
  // PWM freq = TIM_CLK / ((PSC+1) * (ARR+1))
  htim2.Init.Prescaler = HEATER_TIM_PRESCALER;
  htim2.Init.Period = HEATER_TIM_PERIOD;
  htim2.Init.AutoReloadPreload = TIM_AUTORELOAD_PRELOAD_ENABLE;
  if (HAL_TIM_PWM_Init(&htim2) != HAL_OK) {
    Error_Handler();
  }
  /* USER CODE END TIM2_Init 2 */
  HAL_TIM_MspPostInit(&htim2);

}

static void MX_DMA_Init(void)
{

  /* DMA controller clock enable */
  __HAL_RCC_DMAMUX1_CLK_ENABLE();
  __HAL_RCC_DMA1_CLK_ENABLE();

  /* DMA interrupt init */
  /* DMA1_Channel1_IRQn interrupt configuration */
  HAL_NVIC_SetPriority(DMA1_Channel1_IRQn, 0, 0);
  HAL_NVIC_EnableIRQ(DMA1_Channel1_IRQn);
  /* DMAMUX1_OVR_IRQn interrupt configuration */
  HAL_NVIC_SetPriority(DMAMUX1_OVR_IRQn, 0, 0);
  HAL_NVIC_EnableIRQ(DMAMUX1_OVR_IRQn);

}

static void MX_GPIO_Init(void)
{
  GPIO_InitTypeDef GPIO_InitStruct = {0};

  /* GPIO Ports Clock Enable */
  __HAL_RCC_GPIOC_CLK_ENABLE();
  __HAL_RCC_GPIOB_CLK_ENABLE();
  __HAL_RCC_GPIOA_CLK_ENABLE();
  __HAL_RCC_GPIOE_CLK_ENABLE();
  __HAL_RCC_GPIOD_CLK_ENABLE();

  /*Configure GPIO pin Output Level */
  HAL_GPIO_WritePin(GPIOB, LED_BLUE_Pin|LED_GREEN_Pin, GPIO_PIN_RESET);

  /*Configure GPIO pin Output Level */
  HAL_GPIO_WritePin(LED_RED_GPIO_Port, LED_RED_Pin, GPIO_PIN_RESET);

  /*Configure GPIO pin Output Level */
  HAL_GPIO_WritePin(GPIOC, LED_COOLING_Pin|LED_REFLOW_Pin|LED_SOAK_Pin, GPIO_PIN_RESET);

  /*Configure GPIO pin Output Level */
  HAL_GPIO_WritePin(GPIOD, LED_PREHEAT_Pin|LED_PD_Pin, GPIO_PIN_RESET);

  /*Configure GPIO pins : CURRENT_ALERT_Pin PT_DRDY_Pin */
  GPIO_InitStruct.Pin = CURRENT_ALERT_Pin|PT_DRDY_Pin;
  GPIO_InitStruct.Mode = GPIO_MODE_IT_RISING;
  GPIO_InitStruct.Pull = GPIO_NOPULL;
  HAL_GPIO_Init(GPIOC, &GPIO_InitStruct);

  /*Configure GPIO pin : BUTTON_Pin */
  GPIO_InitStruct.Pin = BUTTON_Pin;
  GPIO_InitStruct.Mode = GPIO_MODE_INPUT;
  GPIO_InitStruct.Pull = GPIO_PULLUP;
  HAL_GPIO_Init(BUTTON_GPIO_Port, &GPIO_InitStruct);

  /*Configure GPIO pins : FIELD_DETECT_Pin SINK_EN_Pin */
  GPIO_InitStruct.Pin = FIELD_DETECT_Pin|SINK_EN_Pin;
  GPIO_InitStruct.Mode = GPIO_MODE_INPUT;
  GPIO_InitStruct.Pull = GPIO_NOPULL;
  HAL_GPIO_Init(GPIOC, &GPIO_InitStruct);

  /*Configure GPIO pin : TEMP_ALERT_Pin */
  GPIO_InitStruct.Pin = TEMP_ALERT_Pin;
  GPIO_InitStruct.Mode = GPIO_MODE_IT_RISING;
  GPIO_InitStruct.Pull = GPIO_NOPULL;
  HAL_GPIO_Init(TEMP_ALERT_GPIO_Port, &GPIO_InitStruct);

  /*Configure GPIO pins : LED_BLUE_Pin LED_GREEN_Pin */
  GPIO_InitStruct.Pin = LED_BLUE_Pin|LED_GREEN_Pin;
  GPIO_InitStruct.Mode = GPIO_MODE_OUTPUT_PP;
  GPIO_InitStruct.Pull = GPIO_NOPULL;
  GPIO_InitStruct.Speed = GPIO_SPEED_FREQ_LOW;
  HAL_GPIO_Init(GPIOB, &GPIO_InitStruct);

  /*Configure GPIO pin : LED_RED_Pin */
  GPIO_InitStruct.Pin = LED_RED_Pin;
  GPIO_InitStruct.Mode = GPIO_MODE_OUTPUT_PP;
  GPIO_InitStruct.Pull = GPIO_NOPULL;
  GPIO_InitStruct.Speed = GPIO_SPEED_FREQ_LOW;
  HAL_GPIO_Init(LED_RED_GPIO_Port, &GPIO_InitStruct);

  /*Configure GPIO pin : FAULT_IN_Pin */
  GPIO_InitStruct.Pin = FAULT_IN_Pin;
  GPIO_InitStruct.Mode = GPIO_MODE_INPUT;
  GPIO_InitStruct.Pull = GPIO_NOPULL;
  HAL_GPIO_Init(FAULT_IN_GPIO_Port, &GPIO_InitStruct);

  /*Configure GPIO pins : LED_COOLING_Pin LED_REFLOW_Pin LED_SOAK_Pin */
  GPIO_InitStruct.Pin = LED_COOLING_Pin|LED_REFLOW_Pin|LED_SOAK_Pin;
  GPIO_InitStruct.Mode = GPIO_MODE_OUTPUT_PP;
  GPIO_InitStruct.Pull = GPIO_NOPULL;
  GPIO_InitStruct.Speed = GPIO_SPEED_FREQ_LOW;
  HAL_GPIO_Init(GPIOC, &GPIO_InitStruct);

  /*Configure GPIO pins : LED_PREHEAT_Pin LED_PD_Pin */
  GPIO_InitStruct.Pin = LED_PREHEAT_Pin|LED_PD_Pin;
  GPIO_InitStruct.Mode = GPIO_MODE_OUTPUT_PP;
  GPIO_InitStruct.Pull = GPIO_NOPULL;
  GPIO_InitStruct.Speed = GPIO_SPEED_FREQ_LOW;
  HAL_GPIO_Init(GPIOD, &GPIO_InitStruct);

  /* EXTI interrupt init*/
  HAL_NVIC_SetPriority(EXTI15_10_IRQn, 0, 0);
  HAL_NVIC_EnableIRQ(EXTI15_10_IRQn);

}

void Error_Handler(void)
{
  __disable_irq();
  while (1)
  {
  }
}
